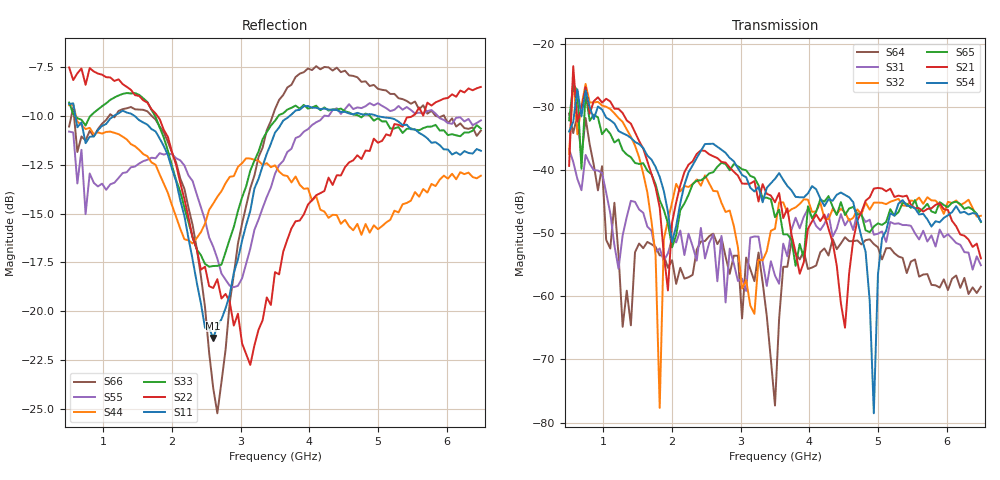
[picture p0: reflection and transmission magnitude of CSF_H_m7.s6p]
!Keysight Technologies,M9804A,MY58100912,A.14.10.03
!Date: Thursday, April 27, 2023 10:28:33
!Correction: S11(C  6-Port  )
!S12(C  6-Port  )
!S13(C  6-Port  )
!S14(C  6-Port  )
!S15(C  6-Port  )
!S16(C  6-Port  )
!S21(C  6-Port  )
!S22(C  6-Port  )
!S23(C  6-Port  )
!S24(C  6-Port  )
!S25(C  6-Port  )
!S26(C  6-Port  )
!S31(C  6-Port  )
!S32(C  6-Port  )
!S33(C  6-Port  )
!S34(C  6-Port  )
!S35(C  6-Port  )
!S36(C  6-Port  )
!S41(C  6-Port  )
!S42(C  6-Port  )
!S43(C  6-Port  )
!S44(C  6-Port  )
!S45(C  6-Port  )
!S46(C  6-Port  )
!S51(C  6-Port  )
!S52(C  6-Port  )
!S53(C  6-Port  )
!S54(C  6-Port  )
!S55(C  6-Port  )
!S56(C  6-Port  )
!S61(C  6-Port  )
!S62(C  6-Port  )
!S63(C  6-Port  )
!S64(C  6-Port  )
!S65(C  6-Port  )
!S66(C  6-Port  )
!S6P File: Measurement: :
# Hz S  RI  R 50
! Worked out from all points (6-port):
!   101 points, 500 MHz to 6.5 GHz, reference 50 ohm
!   strongest paths, dB at 500 MHz, 2 GHz, 3.5 GHz, 5 GHz, 6.5 GHz:
!     S54: -33.9, -51.4, -41.4, -56.5, -48.1
!     S21: -39.3, -48.3, -45.1, -42.8, -54.0
!     S65: -32.1, -52.2, -47.4, -48.4, -48.2
!     S32: -37.4, -45.1, -49.3, -45.1, -47.2
!     S31: -36.7, -50.9, -56.7, -50.1, -55.1
!     S64: -31.0, -54.3, -77.3, -52.2, -58.5
!   lowest |S11| = -21.4 dB at 2.6 GHz (marker M1), VSWR 1.19, Z = 42.4 + j2.32 ohm
!   |S11| at or under -10 dB: 592 MHz to 1.148 GHz (555.6 MHz wide, 63.9 % of centre); 1.458 GHz to 3.711 GHz (2.253 GHz wide, 87.2 % of centre); 4.992 GHz to end of sweep
